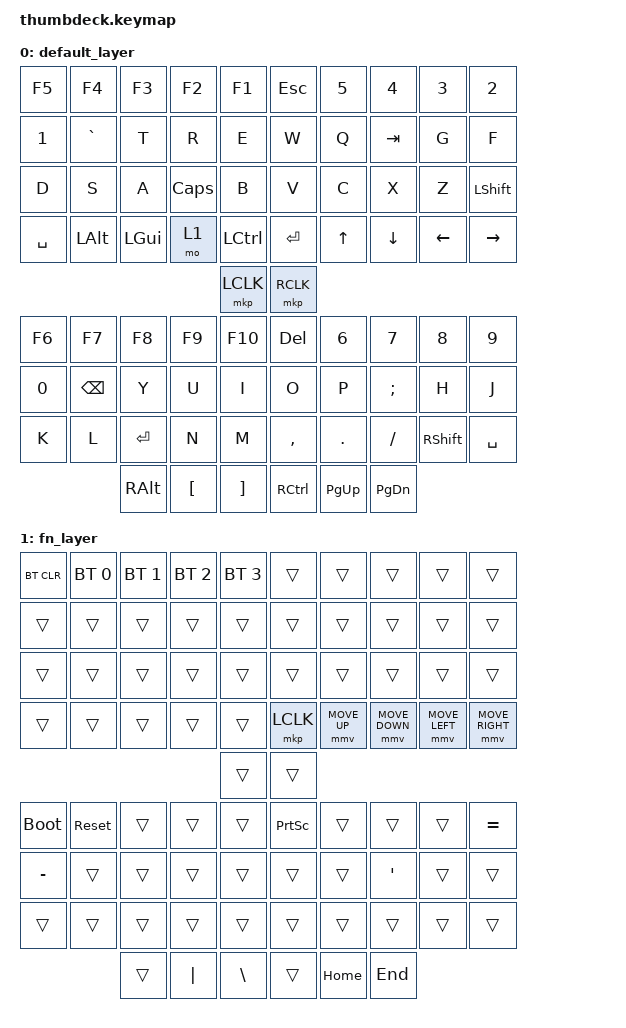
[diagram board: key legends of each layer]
/*
 * SPDX-License-Identifier: Apache-2.0
 * Copyright 2026 Eric Neuman
 */

/*
 * thumbdeck.keymap — GENERATED by hardware/scripts/gen_firmware.py.
 * Bindings are in transform order: all LEFT-grip keys (42) then all RIGHT-grip
 * keys (36). Layer 1 (FN, via the FN key) has BLE-select + bootloader, plus
 * FN+0/9 = minus/equal, FN+PGUP/PGDN = Home/End, FN+DEL = PrintScreen,
 * FN+[ = pipe, FN+] = backslash (v0.20: the \ cap became the right CTL).
 */
#include <behaviors.dtsi>
#include <dt-bindings/zmk/keys.h>
#include <dt-bindings/zmk/pointing.h>
#include <dt-bindings/zmk/bt.h>
#include <dt-bindings/zmk/outputs.h>

/ {
	keymap {
		compatible = "zmk,keymap";
		default_layer {
			bindings = <
/* LEFT grip (42 keys) */
            &kp F5  &kp F4  &kp F3  &kp F2  &kp F1  &kp ESC  &kp N5  &kp N4  &kp N3  &kp N2
            &kp N1  &kp GRAVE  &kp T  &kp R  &kp E  &kp W  &kp Q  &kp TAB  &kp G  &kp F
            &kp D  &kp S  &kp A  &kp CAPS  &kp B  &kp V  &kp C  &kp X  &kp Z  &kp LSHFT
            &kp SPACE  &kp LALT  &kp LGUI  &mo 1  &kp LCTRL  &kp RET  &kp UP  &kp DOWN  &kp LEFT  &kp RIGHT
            &mkp LCLK  &mkp RCLK
/* RIGHT grip (36 keys) */
            &kp F6  &kp F7  &kp F8  &kp F9  &kp F10  &kp DEL  &kp N6  &kp N7  &kp N8  &kp N9
            &kp N0  &kp BSPC  &kp Y  &kp U  &kp I  &kp O  &kp P  &kp SEMI  &kp H  &kp J
            &kp K  &kp L  &kp RET  &kp N  &kp M  &kp COMMA  &kp DOT  &kp FSLH  &kp RSHFT  &kp SPACE
            &kp RALT  &kp LBKT  &kp RBKT  &kp RCTRL  &kp PG_UP  &kp PG_DN
			>;
		};
		fn_layer {
			bindings = <
/* LEFT grip: BT clear + select 0-3 on the first 5 keys */
            &bt BT_CLR  &bt BT_SEL 0  &bt BT_SEL 1  &bt BT_SEL 2  &bt BT_SEL 3  &trans  &trans  &trans  &trans  &trans
            &trans  &trans  &trans  &trans  &trans  &trans  &trans  &trans  &trans  &trans
            &trans  &trans  &trans  &trans  &trans  &trans  &trans  &trans  &trans  &trans
            &trans  &trans  &trans  &trans  &trans  &mkp LCLK  &mmv MOVE_UP  &mmv MOVE_DOWN  &mmv MOVE_LEFT  &mmv MOVE_RIGHT
            &trans  &trans
/* RIGHT grip: bootloader/reset, then label-mapped FN keys */
            &bootloader  &sys_reset  &trans  &trans  &trans  &kp PSCRN  &trans  &trans  &trans  &kp EQUAL
            &kp MINUS  &trans  &trans  &trans  &trans  &trans  &trans  &kp SQT  &trans  &trans
            &trans  &trans  &trans  &trans  &trans  &trans  &trans  &trans  &trans  &trans
            &trans  &kp PIPE  &kp BSLH  &trans  &kp HOME  &kp END
			>;
		};
	};
};
